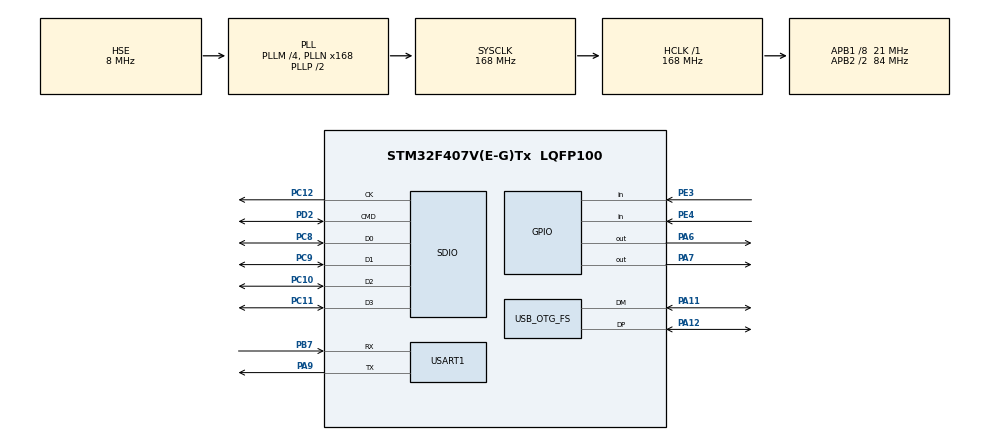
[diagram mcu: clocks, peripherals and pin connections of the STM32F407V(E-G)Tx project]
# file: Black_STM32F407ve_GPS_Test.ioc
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FATFS._CODE_PAGE=1
FATFS._USE_TRIM=1
Mcu.Family=STM32F4
Mcu.Name=STM32F407V(E-G)Tx
Mcu.Package=LQFP100
NVIC.OTG_FS_IRQn=true\:0\:0\:false\:false\:true\:false\:true
NVIC.PriorityGroup=NVIC_PRIORITYGROUP_4
PA11.Mode=Host_Only
PA11.Signal=USB_OTG_FS_DM
PA12.Mode=Host_Only
PA12.Signal=USB_OTG_FS_DP
PA6.Signal=GPIO_Output
PA7.Signal=GPIO_Output
PA9.Mode=Asynchronous
PA9.Signal=USART1_TX
PB7.Mode=Asynchronous
PB7.Signal=USART1_RX
PC10.Mode=SD_4_bits_Wide_bus
PC10.Signal=SDIO_D2
PC11.Mode=SD_4_bits_Wide_bus
PC11.Signal=SDIO_D3
PC12.Mode=SD_4_bits_Wide_bus
PC12.Signal=SDIO_CK
PC8.Mode=SD_4_bits_Wide_bus
PC8.Signal=SDIO_D0
PC9.Mode=SD_4_bits_Wide_bus
PC9.Signal=SDIO_D1
PD2.Mode=SD_4_bits_Wide_bus
PD2.Signal=SDIO_CMD
PE3.Signal=GPIO_Input
PE4.GPIO_PuPd=GPIO_PULLUP
PE4.Signal=GPIO_Input
PH0-OSC_IN.Mode=HSE-External-Oscillator
PH0-OSC_IN.Signal=RCC_OSC_IN
PH1-OSC_OUT.Mode=HSE-External-Oscillator
PH1-OSC_OUT.Signal=RCC_OSC_OUT
ProjectManager.HeapSize=0x600
ProjectManager.StackSize=0x800
ProjectManager.TargetToolchain=MDK-ARM V5.27
RCC.48MHZClocksFreq_Value=48000000
RCC.AHBFreq_Value=168000000
RCC.APB1CLKDivider=RCC_HCLK_DIV8
RCC.APB1Freq_Value=21000000
RCC.APB1TimFreq_Value=42000000
RCC.APB2CLKDivider=RCC_HCLK_DIV2
RCC.APB2Freq_Value=84000000
RCC.APB2TimFreq_Value=168000000
RCC.CortexFreq_Value=168000000
RCC.HCLKFreq_Value=168000000
RCC.HSE_VALUE=8000000
RCC.HSI_VALUE=16000000
RCC.LSE_VALUE=32768
RCC.PLLM=4
RCC.PLLN=168
RCC.PLLQ=7
RCC.SYSCLKFreq_VALUE=168000000
RCC.SYSCLKSource=RCC_SYSCLKSOURCE_PLLCLK
RCC.VCOOutputFreq_Value=336000000
RTC.Date=22
RTC.Hours=13
RTC.Minutes=30
RTC.Month=RTC_MONTH_MARCH
RTC.WeekDay=RTC_WEEKDAY_SUNDAY
RTC.Year=20
USART1.VirtualMode=VM_ASYNC
USB_HOST.USBH_HandleTypeDef-CDC_FS=hUsbHostFS
USB_HOST.VirtualModeFS=Cdc
USB_OTG_FS.VirtualMode=Host_Only
USB_OTG_FS.phy_itface=HCD_PHY_EMBEDDED
VP_FATFS_VS_SDIO.Mode=SDIO
VP_RTC_VS_RTC_Activate.Mode=RTC_Enabled
VP_RTC_VS_RTC_Calendar.Mode=RTC_Calendar
VP_USB_HOST_VS_USB_HOST_CDC_FS.Mode=CDC_FS
board=custom

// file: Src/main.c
/* USER CODE BEGIN Header */
/**
  ******************************************************************************
  * @file           : main.c
  * @brief          : Main program body
  ******************************************************************************
  * @attention
  *
  * <h2><center>&copy; Copyright (c) 2020 STMicroelectronics.
  * All rights reserved.</center></h2>
  *
  * This software component is licensed by ST under BSD 3-Clause license,
  * the "License"; You may not use this file except in compliance with the
  * License. You may obtain a copy of the License at:
  *                        opensource.org/licenses/BSD-3-Clause
  *
  ******************************************************************************
  */
/* USER CODE END Header */

#include "main.h"
#include "fatfs.h"
#include "usb_host.h"

/* USER CODE BEGIN Includes */
#include "string.h"
#include "stdio.h"
#include "stdbool.h"
#include "usbh_def.h"
#include "usbh_cdc.h"
#include "gps.h"

/* USER CODE END Includes */

RTC_TimeTypeDef sTime1;
RTC_DateTypeDef sDate1;
RTC_HandleTypeDef hrtc;
SD_HandleTypeDef hsd;
UART_HandleTypeDef huart1;
extern USBH_HandleTypeDef hUsbHostFS;
extern ApplicationTypeDef Appli_state;

void SystemClock_Config(void);
static void MX_GPIO_Init(void);
void MX_RTC_Init(void);
void MX_USART1_UART_Init(void);
void MX_SDIO_SD_Init(void);
void MX_USB_HOST_Process(void);
void Test_SD(void);
void Print_DateTime(void);

int main(void)
{
  /* USER CODE BEGIN 1 */
	char buff[1024];
	bool bProcessing = true;
	/* GPS handle  */
	gps_t hgps;

  /* USER CODE END 1 */

  /* MCU Configuration--------------------------------------------------------*/

  /* Reset of all peripherals, Initializes the Flash interface and the Systick. */
  HAL_Init();

  /* Configure the system clock */
  SystemClock_Config();

  /* Initialize all configured peripherals */
  MX_GPIO_Init();
  MX_RTC_Init();
  MX_USART1_UART_Init();
  MX_SDIO_SD_Init();
  MX_FATFS_Init();
  MX_USB_HOST_Init();

	/* USER CODE BEGIN 2 */

	printf("\033[2J"); // Clear terminal display (or scroll out on PuTTy)
	printf("Uart up and running\r\n");

//	Test_SD();
//	HAL_Delay(5000);

	printf("\033[2J");  // Clear terminal display

  /* USER CODE END 2 */

  /* Infinite loop */
  while (1)
  {
    MX_USB_HOST_Process();

		if(bProcessing) {
    	if(USBH_CDC_Receive(&hUsbHostFS, (uint8_t *)buff, 1024) == USBH_OK ) {
				printf("buff - %s\r\n", buff);

				/* Process all input data */
				gps_process(&hgps, buff, strlen((char *)buff));  // minimal gps/NMEA parsing by Tilen MAJERLE

				/* Print messages */
				printf("Latitude: %f degrees\r\n", hgps.latitude);
				printf("Longitude: %f degrees\r\n", hgps.longitude);
				printf("Altitude: %f meters\r\n", hgps.altitude);
				printf("Date: %02d/%02d/%02d\r\n", hgps.date, hgps.month, hgps.year);
				printf("Time: %02d:%02d:%02d\r\n", hgps.hours, hgps.minutes, hgps.seconds);
//				bProcessing = false;      //Uncomment to stop after each USB read
			}
		} else {
			HAL_GPIO_WritePin(GPIOA, GPIO_PIN_6, GPIO_PIN_RESET);       //Toggle the onboard LEDS
			HAL_GPIO_WritePin(GPIOA, GPIO_PIN_7, GPIO_PIN_SET);
			HAL_Delay(500);
			HAL_GPIO_WritePin(GPIOA, GPIO_PIN_7, GPIO_PIN_RESET);
			HAL_GPIO_WritePin(GPIOA, GPIO_PIN_6, GPIO_PIN_SET);
			HAL_Delay(500);

			Print_DateTime();
	}

		//Check the two onboard buttons
		if(HAL_GPIO_ReadPin(GPIOE, GPIO_PIN_3) == GPIO_PIN_RESET) { //Stop USB Processing
			USBH_CDC_Stop(&hUsbHostFS);
			bProcessing = false;
		}

		if(HAL_GPIO_ReadPin(GPIOE, GPIO_PIN_4) == GPIO_PIN_RESET) { //Reset USB Processing
			bProcessing = true;
		}

  }
}

//void USBH_CDC_ReceiveCallback(USBH_HandleTypeDef *phost)
//{
//}

static void fault_err (FRESULT rc)
{
  const char *str =
                    "OK\0" "DISK_ERR\0" "INT_ERR\0" "NOT_READY\0" "NO_FILE\0" "NO_PATH\0"
                    "INVALID_NAME\0" "DENIED\0" "EXIST\0" "INVALID_OBJECT\0" "WRITE_PROTECTED\0"
                    "INVALID_DRIVE\0" "NOT_ENABLED\0" "NO_FILE_SYSTEM\0" "MKFS_ABORTED\0" "TIMEOUT\0"
                    "LOCKED\0" "NOT_ENOUGH_CORE\0" "TOO_MANY_OPEN_FILES\0";
  FRESULT i;

  for (i = (FRESULT)0; i != rc && *str; i++) {
    while (*str++) ;
  }
  printf("rc=%u FR_%s\n\r", (UINT)rc, str);
  while(1);
}

void Print_DateTime(void)
{
	uint8_t buffer[32];

	HAL_RTC_GetTime(&hrtc, &sTime1, RTC_FORMAT_BCD);
	HAL_RTC_GetDate(&hrtc, &sDate1, RTC_FORMAT_BCD);

	buffer[0] = (sDate1.Date / 16) + 48;
	buffer[1] = (sDate1.Date % 16) + 48;
	buffer[2] = '.';
	buffer[3] = (sDate1.Month / 16) + 48;
	buffer[4] = (sDate1.Month % 16) + 48;
	buffer[5] = '.';
	buffer[6] = '2';
	buffer[7] = '0';
	buffer[8] = (sDate1.Year / 16) + 48;
	buffer[9] = (sDate1.Year % 16) + 48;
	buffer[10] =' ';
	buffer[11] = (sTime1.Hours / 16) + 48;
	buffer[12] = (sTime1.Hours % 16) + 48;
	buffer[13] = ':';
	buffer[14] = (sTime1.Minutes / 16) + 48;
	buffer[15] = (sTime1.Minutes % 16) + 48;
	buffer[16] = ':';
	buffer[17] = (sTime1.Seconds / 16) + 48;
	buffer[18] = (sTime1.Seconds % 16) + 48;
	buffer[19] = '\r';
	buffer[20] = '\n';
	buffer[21] = 0;
	printf("%s", buffer);
}

void Test_SD(void)
{
	uint8_t buffer[64];
	uint8_t buffer2[64];
	FATFS filesystem;
	FIL   file;
	UINT byteCount;
	DIR dir;				    /* Directory object */
	FILINFO fno;			  /* File information object */
	UINT bw, br;
	FRESULT ret;
	HAL_SD_CardInfoTypeDef CardInfo;
	HAL_SD_CardCIDTypeDef pCID;

	printf("path: '%s'\r\n", SDPath);

	ret = f_mount(&filesystem, SDPath, 1);
	if(ret == FR_OK){
		printf("Card Mounted\r\n");

		printf("Open a test file (message.txt) \n\r");
		ret = f_open(&file, "MESSAGE.TXT", FA_READ);
		if (ret) {
			printf("Test file doesn't exist (message.txt)\n\r");
		} else {
			printf("Type the file content\n\r");
			for (;;) {
				ret = f_read(&file, buffer, sizeof(buffer), &br);	/* Read a chunk of file */
				if (ret || !br) {
					break;			/* Error or end of file */
				}
				buffer[br] = 0;
				printf("%s\r\n",buffer);
			}
			if (ret) {
				printf("Read the file error\n\r");
				fault_err(ret);
			}

			printf("Close the file\n\r");
			ret = f_close(&file);
			if (ret) {
				printf("Close the file error\n\r");
			}
		}

		/*  hello.txt write test*/
		HAL_Delay(50);
		printf("Create a new file (hello.txt)\n\r");
		ret = f_open(&file, "HELLO.TXT", FA_WRITE | FA_CREATE_ALWAYS);
		if (ret) {
			printf("Create a new file error\n\r");
			fault_err(ret);
		} else {
			printf("Write a text data. (hello.txt)\n\r");
			ret = f_write(&file, "Hello world!", 14, &bw);
			if (ret) {
				printf("Write a text data to file error\n\r");
			} else {
				printf("%u bytes written\n\r", bw);
			}
			HAL_Delay(50);
			printf("Close the file\n\r");
			ret = f_close(&file);
			if (ret) {
				printf("Close the hello.txt file error\n\r");
			}
		}

		/*  hello.txt read test*/
		HAL_Delay(50);
		printf("read the file (hello.txt)\n\r");
		ret = f_open(&file, "HELLO.TXT", FA_READ);
		if (ret) {
			printf("open hello.txt file error\n\r");
		} else {
			printf("Type the file content(hello.txt)\n\r");
			for (;;) {
				ret = f_read(&file, buffer, sizeof(buffer), &br);	/* Read a chunk of file */
				if (ret || !br) {
					break;			/* Error or end of file */
				}
				buffer[br] = 0;
				printf("%s\r\n",buffer);
			}
			if (ret) {
				printf("Read file (hello.txt) error\n\r");
				fault_err(ret);
			}

			printf("Close the file (hello.txt)\n\r");
			ret = f_close(&file);
			if (ret) {
				printf("Close the file (hello.txt) error\n\r");
			}
		}

		/*  directory display test*/
		HAL_Delay(50);
		printf("Open root directory\n\r");
		ret = f_opendir(&dir, "");
		if (ret) {
			printf("Open root directory error\n\r");
		} else {
			printf("Directory listing...\n\r");
			for (;;) {
				ret = f_readdir(&dir, &fno);		/* Read a directory item */
				if (ret || !fno.fname[0]) {
					break;	/* Error or end of dir */
				}
				if (fno.fattrib & AM_DIR) {
					printf("  <dir>  %s\n\r", fno.fname);
				} else {
					printf("%8lu  %s\n\r", fno.fsize, fno.fname);
				}
			}
			if (ret) {
				printf("Read a directory error\n\r");
				fault_err(ret);
			}
		}
		printf("Test completed\n\r");

		BSP_SD_GetCardInfo(&CardInfo);

		printf("SD Card Type: %d\r\n", CardInfo.CardType);
		printf("SD Card Version: %d\r\n",CardInfo.CardVersion);
		printf("SD Card Class: %d\r\n", CardInfo.Class);
		printf("SD Card Relative Address: %d\r\n", CardInfo.RelCardAdd);
		printf("SD Card Capacity in blocks: %d\r\n", CardInfo.BlockNbr);
		printf("SD Card Block size in bytes: %d\r\n", CardInfo.BlockSize);
		printf("SD Card Logical Capacity in blocks: %d\r\n", CardInfo.LogBlockNbr);
		printf("SD Card Logical Block size in bytes: %d\r\n", CardInfo.LogBlockSize);

		ret = f_open(&file, "test.txt", FA_WRITE | FA_CREATE_ALWAYS);
		printf("File Open:(%d)\r\n", ret);
		ret = f_write(&file, buffer, 30, &byteCount);
		printf("File Written:(%d)\r\n", ret);
		ret = f_close(&file);
		printf("File Closed:(%d)\r\n", ret);

		ret = f_open(&file, "test2.txt", FA_WRITE | FA_CREATE_ALWAYS);
		printf("File Open:(%d)\r\n", ret);
		ret = f_write(&file, buffer, 30, &byteCount);
		printf("File Written:(%d)\r\n", ret);
		ret = f_close(&file);
		printf("File Closed:(%d)\r\n", ret);

		f_open(&file, "test.txt", FA_READ);
		f_read(&file, buffer2, 5, &byteCount);
		f_close(&file);
	}else{
		printf("mount fail :(%d)\r\n", ret);
	}
}

void SystemClock_Config(void)
{
  RCC_OscInitTypeDef RCC_OscInitStruct = {0};
  RCC_ClkInitTypeDef RCC_ClkInitStruct = {0};
  RCC_PeriphCLKInitTypeDef PeriphClkInitStruct = {0};

  /** Configure the main internal regulator output voltage
  */
  __HAL_RCC_PWR_CLK_ENABLE();
  __HAL_PWR_VOLTAGESCALING_CONFIG(PWR_REGULATOR_VOLTAGE_SCALE1);
  /** Initializes the CPU, AHB and APB busses clocks
  */
  RCC_OscInitStruct.OscillatorType = RCC_OSCILLATORTYPE_LSI|RCC_OSCILLATORTYPE_HSE;
  RCC_OscInitStruct.HSEState = RCC_HSE_ON;
  RCC_OscInitStruct.LSIState = RCC_LSI_ON;
  RCC_OscInitStruct.PLL.PLLState = RCC_PLL_ON;
  RCC_OscInitStruct.PLL.PLLSource = RCC_PLLSOURCE_HSE;
  RCC_OscInitStruct.PLL.PLLM = 4;
  RCC_OscInitStruct.PLL.PLLN = 168;
  RCC_OscInitStruct.PLL.PLLP = RCC_PLLP_DIV2;
  RCC_OscInitStruct.PLL.PLLQ = 7;
  if (HAL_RCC_OscConfig(&RCC_OscInitStruct) != HAL_OK)
  {
    Error_Handler();
  }
  /** Initializes the CPU, AHB and APB busses clocks
  */
  RCC_ClkInitStruct.ClockType = RCC_CLOCKTYPE_HCLK|RCC_CLOCKTYPE_SYSCLK
                              |RCC_CLOCKTYPE_PCLK1|RCC_CLOCKTYPE_PCLK2;
  RCC_ClkInitStruct.SYSCLKSource = RCC_SYSCLKSOURCE_PLLCLK;
  RCC_ClkInitStruct.AHBCLKDivider = RCC_SYSCLK_DIV1;
  RCC_ClkInitStruct.APB1CLKDivider = RCC_HCLK_DIV8;
  RCC_ClkInitStruct.APB2CLKDivider = RCC_HCLK_DIV2;

  if (HAL_RCC_ClockConfig(&RCC_ClkInitStruct, FLASH_LATENCY_5) != HAL_OK)
  {
    Error_Handler();
  }
  PeriphClkInitStruct.PeriphClockSelection = RCC_PERIPHCLK_RTC;
  PeriphClkInitStruct.RTCClockSelection = RCC_RTCCLKSOURCE_LSI;
  if (HAL_RCCEx_PeriphCLKConfig(&PeriphClkInitStruct) != HAL_OK)
  {
    Error_Handler();
  }
}

void MX_RTC_Init(void)
{

  RTC_TimeTypeDef sTime = {0};
  RTC_DateTypeDef sDate = {0};

  /** Initialize RTC Only
  */
  hrtc.Instance = RTC;
  hrtc.Init.HourFormat = RTC_HOURFORMAT_24;
  hrtc.Init.AsynchPrediv = 127;
  hrtc.Init.SynchPrediv = 255;
  hrtc.Init.OutPut = RTC_OUTPUT_DISABLE;
  hrtc.Init.OutPutPolarity = RTC_OUTPUT_POLARITY_HIGH;
  hrtc.Init.OutPutType = RTC_OUTPUT_TYPE_OPENDRAIN;
  if (HAL_RTC_Init(&hrtc) != HAL_OK)
  {
    Error_Handler();
  }

  /** Initialize RTC and set the Time and Date
  */
  sTime.Hours = 0x13;
  sTime.Minutes = 0x30;
  sTime.Seconds = 0x0;
  sTime.DayLightSaving = RTC_DAYLIGHTSAVING_NONE;
  sTime.StoreOperation = RTC_STOREOPERATION_RESET;
  if (HAL_RTC_SetTime(&hrtc, &sTime, RTC_FORMAT_BCD) != HAL_OK)
  {
    Error_Handler();
  }
  sDate.WeekDay = RTC_WEEKDAY_SUNDAY;
  sDate.Month = RTC_MONTH_MARCH;
  sDate.Date = 0x22;
  sDate.Year = 0x20;

  if (HAL_RTC_SetDate(&hrtc, &sDate, RTC_FORMAT_BCD) != HAL_OK)
  {
    Error_Handler();
  }

}

void MX_SDIO_SD_Init(void)
{

  hsd.Instance = SDIO;
  hsd.Init.ClockEdge = SDIO_CLOCK_EDGE_RISING;
  hsd.Init.ClockBypass = SDIO_CLOCK_BYPASS_DISABLE;
  hsd.Init.ClockPowerSave = SDIO_CLOCK_POWER_SAVE_DISABLE;
  hsd.Init.BusWide = SDIO_BUS_WIDE_1B;
  hsd.Init.HardwareFlowControl = SDIO_HARDWARE_FLOW_CONTROL_DISABLE;
  hsd.Init.ClockDiv = 0;

}

void MX_USART1_UART_Init(void)
{

  huart1.Instance = USART1;
  huart1.Init.BaudRate = 115200;
  huart1.Init.WordLength = UART_WORDLENGTH_8B;
  huart1.Init.StopBits = UART_STOPBITS_1;
  huart1.Init.Parity = UART_PARITY_NONE;
  huart1.Init.Mode = UART_MODE_TX_RX;
  huart1.Init.HwFlowCtl = UART_HWCONTROL_NONE;
  huart1.Init.OverSampling = UART_OVERSAMPLING_16;
  if (HAL_UART_Init(&huart1) != HAL_OK)
  {
    Error_Handler();
  }

}

static void MX_GPIO_Init(void)
{
  GPIO_InitTypeDef GPIO_InitStruct = {0};

  /* GPIO Ports Clock Enable */
  __HAL_RCC_GPIOE_CLK_ENABLE();
  __HAL_RCC_GPIOH_CLK_ENABLE();
  __HAL_RCC_GPIOA_CLK_ENABLE();
  __HAL_RCC_GPIOC_CLK_ENABLE();
  __HAL_RCC_GPIOD_CLK_ENABLE();
  __HAL_RCC_GPIOB_CLK_ENABLE();

  /*Configure GPIO pin Output Level */
  HAL_GPIO_WritePin(GPIOA, GPIO_PIN_6|GPIO_PIN_7, GPIO_PIN_RESET);

  /*Configure GPIO pin : PE3 */
  GPIO_InitStruct.Pin = GPIO_PIN_3;
  GPIO_InitStruct.Mode = GPIO_MODE_INPUT;
  GPIO_InitStruct.Pull = GPIO_PULLUP;
  HAL_GPIO_Init(GPIOE, &GPIO_InitStruct);

  /*Configure GPIO pin : PE4 */
  GPIO_InitStruct.Pin = GPIO_PIN_4;
  GPIO_InitStruct.Mode = GPIO_MODE_INPUT;
  GPIO_InitStruct.Pull = GPIO_PULLUP;
  HAL_GPIO_Init(GPIOE, &GPIO_InitStruct);

//  HAL_GPIO_WritePin(GPIOE, GPIO_PIN_3|GPIO_PIN_4, GPIO_PIN_SET);

  /*Configure GPIO pins : PA6 PA7 */
  GPIO_InitStruct.Pin = GPIO_PIN_6|GPIO_PIN_7;
  GPIO_InitStruct.Mode = GPIO_MODE_OUTPUT_PP;
  GPIO_InitStruct.Pull = GPIO_NOPULL;
  GPIO_InitStruct.Speed = GPIO_SPEED_FREQ_LOW;
  HAL_GPIO_Init(GPIOA, &GPIO_InitStruct);

}

/* USER CODE BEGIN 4 */
int fputc(int ch, FILE *f) {
  /* Place your implementation of fputc here */
  /* e.g. write a character to the UART and Loop until the end of transmission */
  HAL_UART_Transmit(&huart1, (uint8_t *)&ch, 1, 0xFFFF);

  return ch;
}

/* USER CODE END 4 */

void Error_Handler(void)
{
}

/************************ (C) COPYRIGHT STMicroelectronics *****END OF FILE****/
